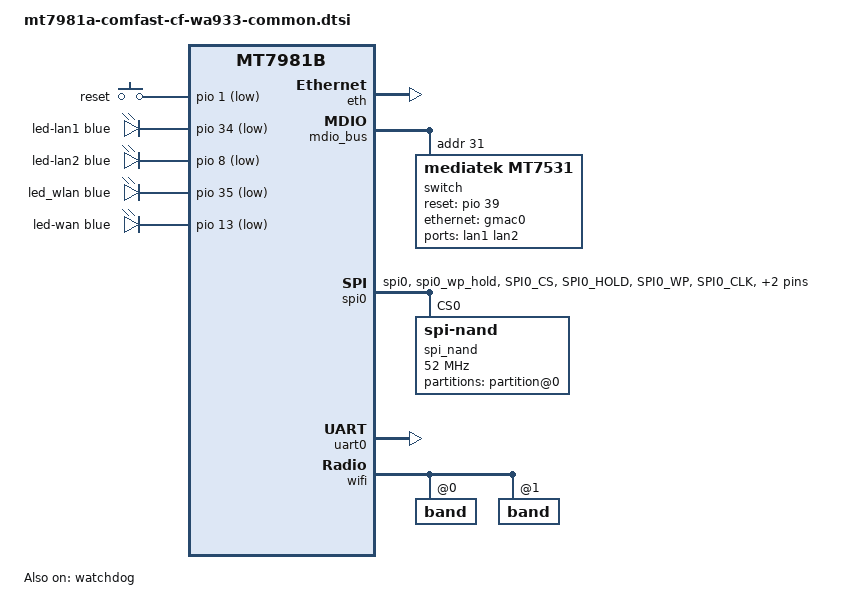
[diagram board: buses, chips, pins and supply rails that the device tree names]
// SPDX-License-Identifier: GPL-2.0-or-later OR MIT

/dts-v1/;
#include "mt7981b.dtsi"

/ {
	aliases {
		label-mac-device = &gmac0;
		serial0 = &uart0;
		led-boot = &led_wlan;
		led-failsafe = &led_wlan;
		led-upgrade = &led_wlan;
	};

	chosen: chosen {
		stdout-path = "serial0:115200n8";
	};

	gpio-keys {
		compatible = "gpio-keys";

		reset {
			label = "reset";
			linux,code = <KEY_RESTART>;
			gpios = <&pio 1 GPIO_ACTIVE_LOW>;
		};
	};

	leds {
		compatible = "gpio-leds";

		led-lan1 {
			color = <LED_COLOR_ID_BLUE>;
			function = LED_FUNCTION_LAN;
			function-enumerator = <1>;
			gpios = <&pio 34 GPIO_ACTIVE_LOW>;
		};

		led-lan2 {
			color = <LED_COLOR_ID_BLUE>;
			function = LED_FUNCTION_LAN;
			function-enumerator = <2>;
			gpios = <&pio 8 GPIO_ACTIVE_LOW>;
		};

		led_wlan: led-wlan {
			color = <LED_COLOR_ID_BLUE>;
			function = LED_FUNCTION_WLAN;
			gpios = <&pio 35 GPIO_ACTIVE_LOW>;
			linux,default-trigger = "network";
		};

		led-wan {
			color = <LED_COLOR_ID_BLUE>;
			function = LED_FUNCTION_WAN;
			gpios = <&pio 13 GPIO_ACTIVE_LOW>;
		};
	};
};

&eth {
	status = "okay";

	gmac0: mac@0 {
		compatible = "mediatek,eth-mac";
		reg = <0>;
		phy-mode = "2500base-x";
		nvmem-cells = <&macaddr_factory_e000 0>;
		nvmem-cell-names = "mac-address";

		fixed-link {
			speed = <2500>;
			full-duplex;
			pause;
		};
	};

	gmac1: mac@1 {
		compatible = "mediatek,eth-mac";
		reg = <1>;
		label = "wan";
		phy-mode = "gmii";
		phy-handle = <&int_gbe_phy>;
		nvmem-cells = <&macaddr_factory_e000 1>;
		nvmem-cell-names = "mac-address";
	};
};

&mdio_bus {
	switch: switch@1f {
		compatible = "mediatek,mt7531";
		reg = <31>;
		reset-gpios = <&pio 39 GPIO_ACTIVE_HIGH>;
	};
};

&pio {
	spi0_flash_pins: spi0-pins {
		mux {
			function = "spi";
			groups = "spi0", "spi0_wp_hold";
		};

		conf-pu {
			pins = "SPI0_CS", "SPI0_HOLD", "SPI0_WP";
			drive-strength = <MTK_DRIVE_4mA>;
			bias-pull-up = <MTK_PUPD_SET_R1R0_11>;
		};

		conf-pd {
			pins = "SPI0_CLK", "SPI0_MOSI", "SPI0_MISO";
			drive-strength = <MTK_DRIVE_4mA>;
			bias-pull-down = <MTK_PUPD_SET_R1R0_11>;
		};
	};
};

&spi0 {
	pinctrl-names = "default";
	pinctrl-0 = <&spi0_flash_pins>;
	status = "okay";

	spi_nand: spi-nand@0 {
		compatible = "spi-nand";
		reg = <0>;
		spi-max-frequency = <52000000>;

		spi-cal-enable;
		spi-cal-mode = "read-data";
		spi-cal-datalen = <7>;
		spi-cal-data = /bits/ 8 <0x53 0x50 0x49 0x4E 0x41 0x4E 0x44>;
		spi-cal-addrlen = <5>;
		spi-cal-addr = /bits/ 32 <0x0 0x0 0x0 0x0 0x0>;

		spi-tx-bus-width = <4>;
		spi-rx-bus-width = <4>;

		partitions {
			compatible = "fixed-partitions";
			#address-cells = <1>;
			#size-cells = <1>;

			partition@0 {
				reg = <0x00000 0x0100000>;
				read-only;
			};
		};
	};
};

&switch {
	ports {
		#address-cells = <1>;
		#size-cells = <0>;

		port@0 {
			reg = <0>;
			label = "lan1";
		};

		port@1 {
			reg = <1>;
			label = "lan2";
		};

		port@6 {
			reg = <6>;
			ethernet = <&gmac0>;
			phy-mode = "2500base-x";

			fixed-link {
				speed = <2500>;
				full-duplex;
				pause;
			};
		};
	};
};

&uart0 {
	status = "okay";
};

&watchdog {
	status = "okay";
};

&wifi {
	#address-cells = <1>;
	#size-cells = <0>;
	nvmem-cells = <&eeprom_factory_0>;
	nvmem-cell-names = "eeprom";
	status = "okay";

	band@0 {
		reg = <0>;
		nvmem-cells = <&macaddr_factory_4 0>;
		nvmem-cell-names = "mac-address";
	};

	band@1 {
		reg = <1>;
		nvmem-cells = <&macaddr_factory_8000 0>;
		nvmem-cell-names = "mac-address";
	};
};
